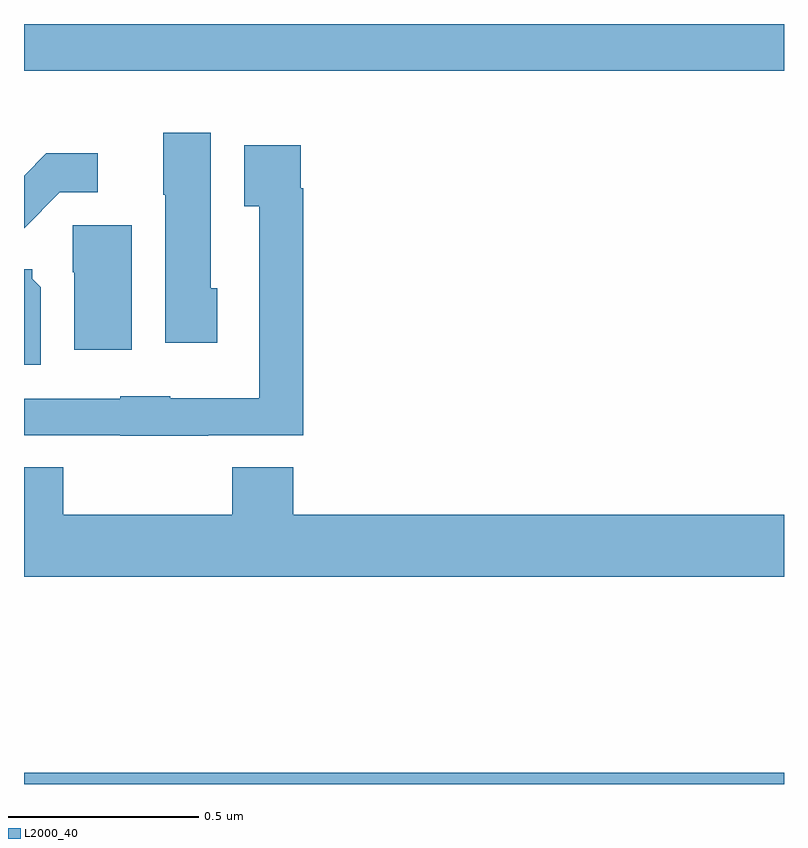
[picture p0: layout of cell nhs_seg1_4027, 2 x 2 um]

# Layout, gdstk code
import gdstk
lib = gdstk.Library(unit=1e-6, precision=1e-09)
def R(c, l, rs):  # rectangles x0, y0, x1, y1
    for r in rs: c.add(gdstk.rectangle(r[:2], r[2:], *l))
def P(c, l, *ps):  # polygons
    for p in ps: c.add(gdstk.Polygon(p, *l))
L2000_40 = (2000, 40)

nhs_seg1_4027 = lib.new_cell('nhs_seg1_4027')
R(nhs_seg1_4027, L2000_40, [(161,539.199,163,539.228), (161,541.076,163,541.199)])
P(nhs_seg1_4027, L2000_40, [(161.509,540.504),(161.491,540.504),(161.491,540.913),(161.366,540.913),(161.366,540.75),(161.372,540.75),(161.372,540.36),(161.509,540.36)],
  [(161.485,540.117),(161.735,540.117),(161.735,540.767),(161.728,540.767),(161.728,540.88),(161.579,540.88),(161.579,540.719),(161.619,540.719),(161.619,540.214),(161.385,540.214),(161.385,540.22),(161.253,540.22),(161.253,540.213),(161,540.213),(161,540.117),(161.253,540.117),(161.253,540.116),(161.485,540.116)],
  [(161.094,540.756),(161.194,540.756),(161.194,540.859),(161.059,540.859),(161,540.8),(161,540.662)],
  [(161.284,540.669),(161.128,540.669),(161.128,540.546),(161.132,540.546),(161.132,540.342),(161.284,540.342)],
  [(161.044,540.506),(161.022,540.528),(161.022,540.553),(161,540.553),(161,540.302),(161.044,540.302)],
  [(163,539.908),(161.708,539.908),(161.708,540.032),(161.548,540.032),(161.548,539.908),(161.103,539.908),(161.103,540.032),(161,540.032),(161,539.744),(163,539.744)])

lib.write_gds('nhs_seg1_4027.gds')
